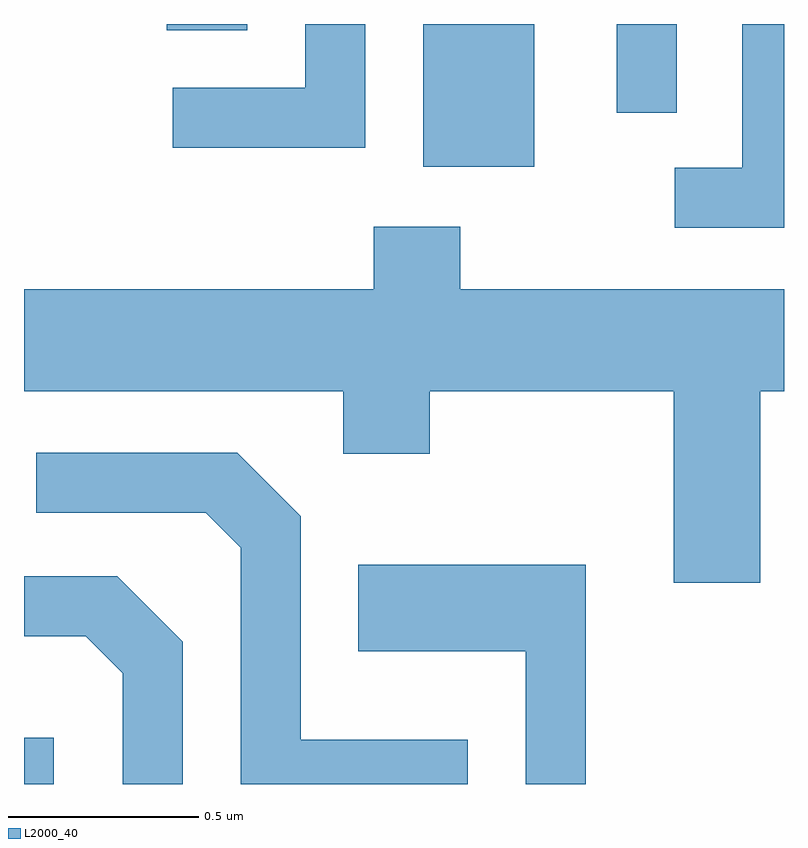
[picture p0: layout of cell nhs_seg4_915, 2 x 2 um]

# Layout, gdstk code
import gdstk
lib = gdstk.Library(unit=1e-6, precision=1e-09)
def R(c, l, rs):  # rectangles x0, y0, x1, y1
    for r in rs: c.add(gdstk.rectangle(r[:2], r[2:], *l))
def P(c, l, *ps):  # polygons
    for p in ps: c.add(gdstk.Polygon(p, *l))
L2000_40 = (2000, 40)

nhs_seg4_915 = lib.new_cell('nhs_seg4_915')
R(nhs_seg4_915, L2000_40, [(191.611,1346.982,191.689,1347.104), (192.661,1348.606,192.954,1348.982), (193.171,1348.748,193.329,1348.982), (191.986,1348.966,192.199,1348.982)])
P(nhs_seg4_915, L2000_40, [(193.611,1348.982),(193.501,1348.982),(193.501,1348.604),(193.323,1348.604),(193.323,1348.446),(193.611,1348.446)],
  [(192.509,1348.982),(192.351,1348.982),(192.351,1348.814),(192.003,1348.814),(192.003,1348.656),(192.509,1348.656)],
  [(193.549,1348.016),(193.611,1348.016),(193.611,1348.284),(192.759,1348.284),(192.759,1348.449),(192.531,1348.449),(192.531,1348.284),(191.611,1348.284),(191.611,1348.016),(192.451,1348.016),(192.451,1347.851),(192.679,1347.851),(192.679,1348.016),(193.321,1348.016),(193.321,1347.511),(193.549,1347.511)],
  [(192.779,1347.099),(192.339,1347.099),(192.339,1347.687),(192.172,1347.854),(191.643,1347.854),(191.643,1347.696),(192.089,1347.696),(192.181,1347.604),(192.181,1346.982),(192.779,1346.982)],
  [(193.089,1347.559),(192.491,1347.559),(192.491,1347.331),(192.931,1347.331),(192.931,1346.982),(193.089,1346.982)],
  [(192.029,1347.357),(191.857,1347.529),(191.611,1347.529),(191.611,1347.371),(191.774,1347.371),(191.871,1347.274),(191.871,1346.982),(192.029,1346.982)])

lib.write_gds('nhs_seg4_915.gds')
